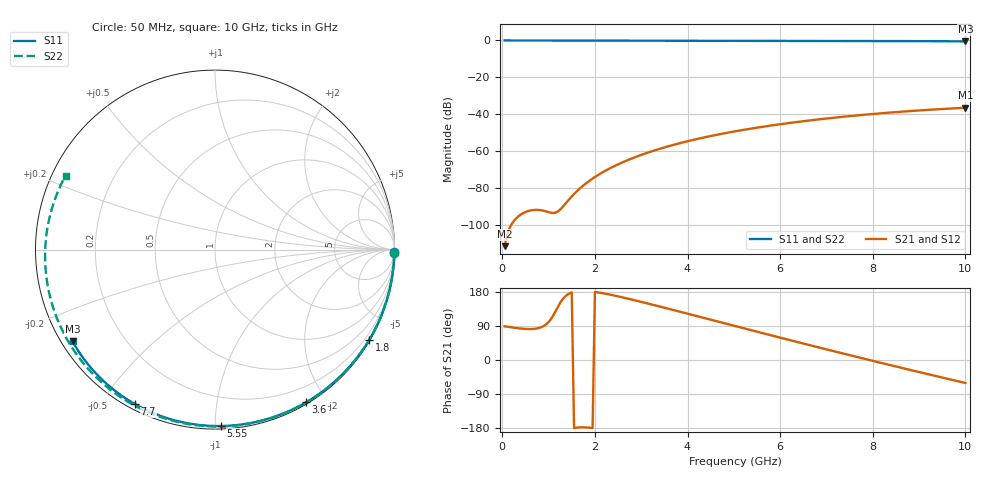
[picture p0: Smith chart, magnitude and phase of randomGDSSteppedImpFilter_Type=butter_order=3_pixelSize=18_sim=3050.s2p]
! freq	dB(S11)	phase(S11)	dB(S12)	phase(S12)
!  dB(S21)	phase(S21)	dB(S22)	phase(S22)
!S-par simulation data
#  GHz  S  DB  R 50
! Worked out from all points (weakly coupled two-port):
!   200 points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, 50 MHz to 10 GHz, reference 50 ohm
!   highest |S21| = -36.38 dB at 10 GHz (marker M1); lowest = -111.2 dB at 50 MHz (marker M2)
!   lowest |S11| = -0.5 dB at 10 GHz (marker M3), VSWR 35.00, Z = 1.55 - j14.7 ohm
!   |S11| at or under -10 dB: nowhere
!   |S22| runs from -0.6 to 0.0 dB; largest |S21 - S12| = 0
!   S11 on the Smith chart (normalised r, x): 50 MHz: open; 1.8 GHz: 0.03, -3.69; 3.6 GHz: 0.02, -1.76; 5.55 GHz: 0.02, -1.03; 7.7 GHz: 0.02, -0.61; 10 GHz: 0.03, -0.29
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0.05  -0.00 -0.8  -111.24 89.0  -111.24 89.0  -0.00 -1.1
0.45  -0.01 -7.7  -93.39 82.4  -93.39 82.4  -0.02 -10.2
0.85  -0.02 -14.5  -91.86 86.9  -91.86 86.9  -0.02 -19.2
1.65  -0.04 -27.9  -80.59 -177.9  -80.59 -177.9  -0.05 -36.9
1.7  -0.04 -28.7  -79.47 -177.6  -79.47 -177.6  -0.05 -38.0
1.75  -0.04 -29.5  -78.42 -177.6  -78.42 -177.6  -0.05 -39.1
1.8  -0.04 -30.3  -77.41 -177.8  -77.41 -177.8  -0.05 -40.2
2.1  -0.05 -35.3  -72.27 177.7  -72.27 177.7  -0.06 -46.7
2.5  -0.05 -41.8  -66.99 167.9  -66.99 167.9  -0.07 -55.3
2.9  -0.06 -48.2  -62.81 156.4  -62.81 156.4  -0.08 -63.7
3.4  -0.07 -56.0  -58.58 141.1  -58.58 141.1  -0.10 -74.0
3.6  -0.08 -59.1  -57.12 134.9  -57.12 134.9  -0.10 -78.1
4.3  -0.10 -69.8  -52.75 112.7  -52.75 112.7  -0.13 -92.0
5.05  -0.12 -80.9  -49.03 88.9  -49.03 88.9  -0.16 -106.6
5.55  -0.14 -88.0  -46.95 73.1  -46.95 73.1  -0.19 -116.2
6.1  -0.17 -95.7  -44.96 55.8  -44.96 55.8  -0.23 -126.7
6.7  -0.20 -104.0  -43.06 37.2  -43.06 37.2  -0.27 -138.1
7.7  -0.27 -117.3  -40.44 6.8  -40.44 6.8  -0.36 -157.3
8.35  -0.32 -125.8  -39.04 -12.7  -39.04 -12.7  -0.43 -170.3
9.2  -0.41 -136.8  -37.52 -37.7  -37.52 -37.7  -0.53 171.8
9.6  -0.45 -142.0  -36.91 -49.2  -36.91 -49.2  -0.58 162.9
10  -0.50 -147.2  -36.38 -60.6  -36.38 -60.6  -0.64 153.7
